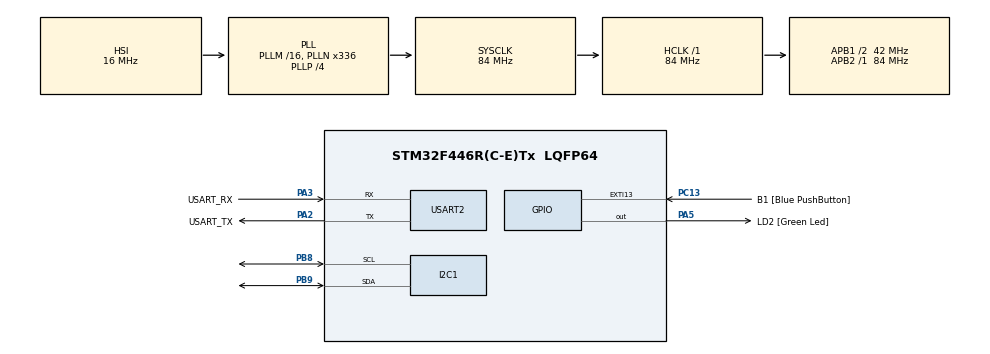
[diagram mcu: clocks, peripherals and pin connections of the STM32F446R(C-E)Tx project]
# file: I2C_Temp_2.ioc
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Mcu.Family=STM32F4
Mcu.Name=STM32F446R(C-E)Tx
Mcu.Package=LQFP64
NVIC.I2C1_ER_IRQn=true\:0\:0\:false\:false\:true\:true\:true
NVIC.I2C1_EV_IRQn=true\:0\:0\:false\:false\:true\:true\:true
NVIC.PriorityGroup=NVIC_PRIORITYGROUP_0
PA13.GPIO_Label=TMS
PA13.Mode=Serial_Wire
PA13.Signal=SYS_JTMS-SWDIO
PA14.GPIO_Label=TCK
PA14.Mode=Serial_Wire
PA14.Signal=SYS_JTCK-SWCLK
PA2.GPIO_Label=USART_TX
PA2.Mode=Asynchronous
PA2.Signal=USART2_TX
PA3.GPIO_Label=USART_RX
PA3.Mode=Asynchronous
PA3.Signal=USART2_RX
PA5.GPIO_Label=LD2 [Green Led]
PA5.Signal=GPIO_Output
PB3.GPIO_Label=SWO
PB3.Signal=SYS_JTDO-SWO
PB8.Mode=I2C
PB8.Signal=I2C1_SCL
PB9.Mode=I2C
PB9.Signal=I2C1_SDA
PC13.GPIO_Label=B1 [Blue PushButton]
PC13.GPIO_ModeDefaultEXTI=GPIO_MODE_IT_FALLING
PC13.Signal=GPXTI13
PC14-OSC32_IN.Mode=LSE-External-Oscillator
PC14-OSC32_IN.Signal=RCC_OSC32_IN
PC15-OSC32_OUT.Mode=LSE-External-Oscillator
PC15-OSC32_OUT.Signal=RCC_OSC32_OUT
PH0-OSC_IN.Mode=HSE-External-Oscillator
PH0-OSC_IN.Signal=RCC_OSC_IN
PH1-OSC_OUT.Mode=HSE-External-Oscillator
PH1-OSC_OUT.Signal=RCC_OSC_OUT
ProjectManager.HeapSize=0x200
ProjectManager.StackSize=0x400
ProjectManager.TargetToolchain=STM32CubeIDE
RCC.48MHZClocksFreq_Value=84000000
RCC.AHBFreq_Value=84000000
RCC.APB1CLKDivider=RCC_HCLK_DIV2
RCC.APB1Freq_Value=42000000
RCC.APB1TimFreq_Value=84000000
RCC.APB2Freq_Value=84000000
RCC.APB2TimFreq_Value=84000000
RCC.CortexFreq_Value=84000000
RCC.FLatency-AdvancedSettings=FLASH_LATENCY_2
RCC.HCLKFreq_Value=84000000
RCC.HSE_VALUE=8000000
RCC.HSI_VALUE=16000000
RCC.PLLN=336
RCC.PLLP=RCC_PLLP_DIV4
RCC.SYSCLKFreq_VALUE=84000000
RCC.SYSCLKSource=RCC_SYSCLKSOURCE_PLLCLK
RCC.USBFreq_Value=168000000
RCC.VCOOutputFreq_Value=336000000
USART2.VirtualMode=VM_ASYNC
board=NUCLEO-F446RE

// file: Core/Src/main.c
/* USER CODE BEGIN Header */
/**
  ******************************************************************************
  * @file           : main.c
  * @brief          : Main program body
  ******************************************************************************
  * @attention
  *
  * <h2><center>&copy; Copyright (c) 2021 STMicroelectronics.
  * All rights reserved.</center></h2>
  *
  * This software component is licensed by ST under BSD 3-Clause license,
  * the "License"; You may not use this file except in compliance with the
  * License. You may obtain a copy of the License at:
  *                        opensource.org/licenses/BSD-3-Clause
  *
  ******************************************************************************
  */
/* USER CODE END Header */
#include "main.h"
/* USER CODE BEGIN Includes */
#include "string.h"
#include "stdio.h"
/* USER CODE END Includes */

I2C_HandleTypeDef hi2c1;

UART_HandleTypeDef huart2;

/* USER CODE BEGIN PV */
static const uint8_t TMP_SHT31_ADDR=0x44 << 1;
static const uint16_t REG_STATUS = 0xF32D;
static const uint16_t REG_MES_TMP = 0xE00;

void SystemClock_Config(void);
static void MX_GPIO_Init(void);
static void MX_USART2_UART_Init(void);
static void MX_I2C1_Init(void);

int main(void)
{
  /* USER CODE BEGIN 1 */
	HAL_StatusTypeDef ret;
	uint16_t buf[12];
	int16_t val;
	float temp_c;
  /* USER CODE END 1 */

  /* MCU Configuration--------------------------------------------------------*/

  /* Reset of all peripherals, Initializes the Flash interface and the Systick. */
  HAL_Init();

  /* Configure the system clock */
  SystemClock_Config();

  /* Initialize all configured peripherals */
  MX_GPIO_Init();
  MX_USART2_UART_Init();
  MX_I2C1_Init();

  /* Infinite loop */
  /* USER CODE BEGIN WHILE */
  while (1)
  {
	  //Tell that we want to read from the temperature register
	  buf[0] = REG_MES_TMP;
	  ret = HAL_I2C_Master_Transmit(&hi2c1, TMP_SHT31_ADDR, buf, 1, HAL_MAX_DELAY);
	  if (ret!= HAL_OK)
	  {
		  strcpy((char*)buf, "Error TX\r\n");
	  }
	  else
	  {
		  ret=HAL_I2C_Master_Receive(&hi2c1, TMP_SHT31_ADDR, buf, 2, HAL_MAX_DELAY);
		  if (ret != HAL_OK)
		  {
			  strcpy((char*)buf, "Error Rx\r\n");
		  }

		  //Combine the bytes
		  val = (buf[0] << 4) | (buf[1] >> 4);
	  }

	  //strcpy((char*)buf, "Hello!\r\n");
	  HAL_UART_Transmit(&huart2, buf, strlen((char*)buf), HAL_MAX_DELAY);
	  HAL_Delay(500);
    /* USER CODE END WHILE */

  }
}

void SystemClock_Config(void)
{
  RCC_OscInitTypeDef RCC_OscInitStruct = {0};
  RCC_ClkInitTypeDef RCC_ClkInitStruct = {0};

  /** Configure the main internal regulator output voltage
  */
  __HAL_RCC_PWR_CLK_ENABLE();
  __HAL_PWR_VOLTAGESCALING_CONFIG(PWR_REGULATOR_VOLTAGE_SCALE3);
  /** Initializes the RCC Oscillators according to the specified parameters
  * in the RCC_OscInitTypeDef structure.
  */
  RCC_OscInitStruct.OscillatorType = RCC_OSCILLATORTYPE_HSI;
  RCC_OscInitStruct.HSIState = RCC_HSI_ON;
  RCC_OscInitStruct.HSICalibrationValue = RCC_HSICALIBRATION_DEFAULT;
  RCC_OscInitStruct.PLL.PLLState = RCC_PLL_ON;
  RCC_OscInitStruct.PLL.PLLSource = RCC_PLLSOURCE_HSI;
  RCC_OscInitStruct.PLL.PLLM = 16;
  RCC_OscInitStruct.PLL.PLLN = 336;
  RCC_OscInitStruct.PLL.PLLP = RCC_PLLP_DIV4;
  RCC_OscInitStruct.PLL.PLLQ = 2;
  RCC_OscInitStruct.PLL.PLLR = 2;
  if (HAL_RCC_OscConfig(&RCC_OscInitStruct) != HAL_OK)
  {
    Error_Handler();
  }
  /** Initializes the CPU, AHB and APB buses clocks
  */
  RCC_ClkInitStruct.ClockType = RCC_CLOCKTYPE_HCLK|RCC_CLOCKTYPE_SYSCLK
                              |RCC_CLOCKTYPE_PCLK1|RCC_CLOCKTYPE_PCLK2;
  RCC_ClkInitStruct.SYSCLKSource = RCC_SYSCLKSOURCE_PLLCLK;
  RCC_ClkInitStruct.AHBCLKDivider = RCC_SYSCLK_DIV1;
  RCC_ClkInitStruct.APB1CLKDivider = RCC_HCLK_DIV2;
  RCC_ClkInitStruct.APB2CLKDivider = RCC_HCLK_DIV1;

  if (HAL_RCC_ClockConfig(&RCC_ClkInitStruct, FLASH_LATENCY_2) != HAL_OK)
  {
    Error_Handler();
  }
}

static void MX_I2C1_Init(void)
{

  hi2c1.Instance = I2C1;
  hi2c1.Init.ClockSpeed = 100000;
  hi2c1.Init.DutyCycle = I2C_DUTYCYCLE_2;
  hi2c1.Init.OwnAddress1 = 0;
  hi2c1.Init.AddressingMode = I2C_ADDRESSINGMODE_7BIT;
  hi2c1.Init.DualAddressMode = I2C_DUALADDRESS_DISABLE;
  hi2c1.Init.OwnAddress2 = 0;
  hi2c1.Init.GeneralCallMode = I2C_GENERALCALL_DISABLE;
  hi2c1.Init.NoStretchMode = I2C_NOSTRETCH_DISABLE;
  if (HAL_I2C_Init(&hi2c1) != HAL_OK)
  {
    Error_Handler();
  }

}

static void MX_USART2_UART_Init(void)
{

  huart2.Instance = USART2;
  huart2.Init.BaudRate = 115200;
  huart2.Init.WordLength = UART_WORDLENGTH_8B;
  huart2.Init.StopBits = UART_STOPBITS_1;
  huart2.Init.Parity = UART_PARITY_NONE;
  huart2.Init.Mode = UART_MODE_TX_RX;
  huart2.Init.HwFlowCtl = UART_HWCONTROL_NONE;
  huart2.Init.OverSampling = UART_OVERSAMPLING_16;
  if (HAL_UART_Init(&huart2) != HAL_OK)
  {
    Error_Handler();
  }

}

static void MX_GPIO_Init(void)
{
  GPIO_InitTypeDef GPIO_InitStruct = {0};

  /* GPIO Ports Clock Enable */
  __HAL_RCC_GPIOC_CLK_ENABLE();
  __HAL_RCC_GPIOH_CLK_ENABLE();
  __HAL_RCC_GPIOA_CLK_ENABLE();
  __HAL_RCC_GPIOB_CLK_ENABLE();

  /*Configure GPIO pin Output Level */
  HAL_GPIO_WritePin(LD2_GPIO_Port, LD2_Pin, GPIO_PIN_RESET);

  /*Configure GPIO pin : B1_Pin */
  GPIO_InitStruct.Pin = B1_Pin;
  GPIO_InitStruct.Mode = GPIO_MODE_IT_FALLING;
  GPIO_InitStruct.Pull = GPIO_NOPULL;
  HAL_GPIO_Init(B1_GPIO_Port, &GPIO_InitStruct);

  /*Configure GPIO pin : LD2_Pin */
  GPIO_InitStruct.Pin = LD2_Pin;
  GPIO_InitStruct.Mode = GPIO_MODE_OUTPUT_PP;
  GPIO_InitStruct.Pull = GPIO_NOPULL;
  GPIO_InitStruct.Speed = GPIO_SPEED_FREQ_LOW;
  HAL_GPIO_Init(LD2_GPIO_Port, &GPIO_InitStruct);

}

void Error_Handler(void)
{
  __disable_irq();
  while (1)
  {
  }
}

/************************ (C) COPYRIGHT STMicroelectronics *****END OF FILE****/
